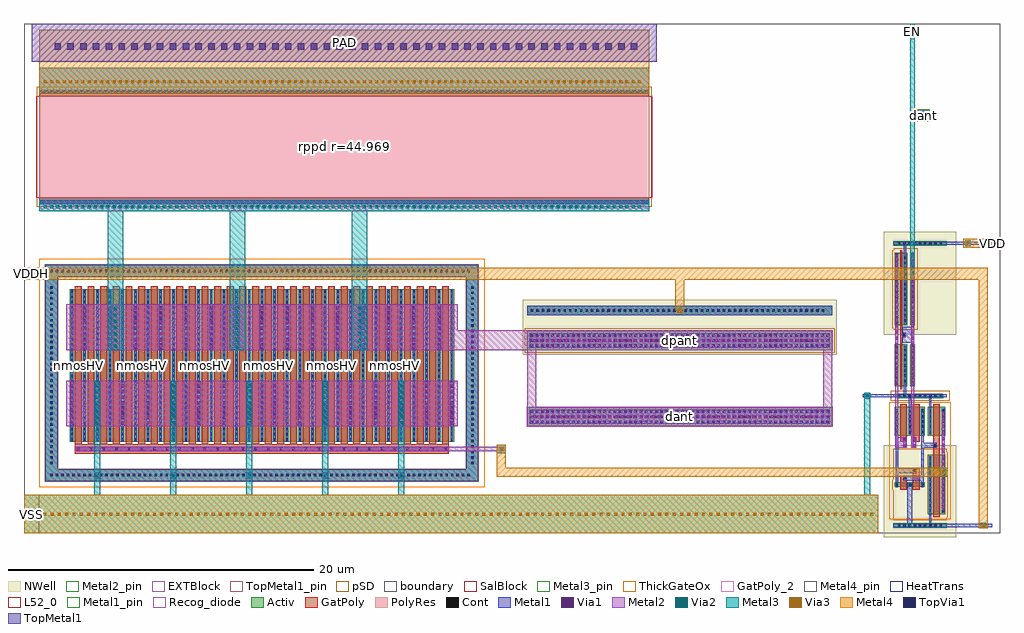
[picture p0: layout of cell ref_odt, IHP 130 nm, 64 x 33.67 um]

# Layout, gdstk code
import gdstk
lib = gdstk.Library(unit=1e-6, precision=1e-09)
def R(c, l, rs):  # rectangles x0, y0, x1, y1
    for r in rs: c.add(gdstk.rectangle(r[:2], r[2:], *l))
def A(c, l, x, y, w, h, nx, ny, dx, dy):  # array of equal rectangles
    R(c, l, [(x+i*dx, y+j*dy, x+i*dx+w, y+j*dy+h) for i in range(nx) for j in range(ny)])
def P(c, l, *ps):  # polygons
    for p in ps: c.add(gdstk.Polygon(p, *l))
Activ = (1, 0)
GatPoly = (5, 0)
GatPoly_2 = (5, 2)
Cont = (6, 0)
Metal1 = (8, 0)
Metal1_pin = (8, 2)
Metal2 = (10, 0)
Metal2_pin = (10, 2)
pSD = (14, 0)
Via1 = (19, 0)
SalBlock = (28, 0)
Via2 = (29, 0)
Metal3 = (30, 0)
Metal3_pin = (30, 2)
NWell = (31, 0)
ThickGateOx = (44, 0)
Via3 = (49, 0)
Metal4 = (50, 0)
Metal4_pin = (50, 2)
HeatTrans = (51, 0)
L52_0 = (52, 0)
Recog_diode = (99, 31)
EXTBlock = (111, 0)
TopVia1 = (125, 0)
TopMetal1 = (126, 0)
TopMetal1_pin = (126, 2)
PolyRes = (128, 0)
boundary = (189, 4)

ref_odt_lvlup = lib.new_cell('ref_odt_lvlup')
R(ref_odt_lvlup, Activ, [(0,-0.15,3.51,0.15), (2.275,0.73,3.405,4.63), (0.105,2.53,2.065,2.83), (0.105,5.87,1.235,7.77), (1.15,5.87,1.85,7.77), (1.765,5.87,2.065,7.77), (2.275,5.87,3.405,7.77), (0.245,8.35,3.29,8.65), (0.105,9.13,0.915,11.88), (1.125,9.13,1.425,11.88), (0.105,13.12,0.915,17.87), (1.125,13.12,1.425,17.87), (0,18.35,3.51,18.65)])
R(ref_odt_lvlup, GatPoly, [(2.615,0.55,3.065,7.95), (0.445,2.35,0.895,3.01), (0.445,2.35,0.895,3.25), (1.275,2.35,1.725,3.75), (1.275,3.45,1.575,3.75), (0.445,5.49,0.895,7.95), (1.275,5.49,1.725,7.95)])
P(ref_odt_lvlup, GatPoly, [(0.445,8.95),(0.445,18.05),(0.575,18.05),(0.575,12.65),(0.825,12.65),(0.825,12.35),(0.575,12.35),(0.575,8.95)],
  [(0.595,5.49),(0.595,5.69),(0.445,5.69),(0.445,7.95),(0.895,7.95),(0.895,5.49)],
  [(1.275,5.49),(1.275,7.95),(1.725,7.95),(1.725,5.69),(1.575,5.69),(1.575,5.49)])
A(ref_odt_lvlup, Cont, 0.315, -0.08, 0.16, 0.16, 9, 2, 0.34, 8.5)
A(ref_odt_lvlup, Cont, 2.345, 0.9, 0.16, 0.16, 1, 11, 0, 0.34)
A(ref_odt_lvlup, Cont, 3.175, 0.9, 0.16, 0.16, 1, 11, 0, 0.34)
A(ref_odt_lvlup, Cont, 0.175, 2.6, 0.16, 0.16, 3, 2, 0.83, 3.46)
A(ref_odt_lvlup, Cont, 2.345, 6.06, 0.16, 0.16, 1, 5, 0, 0.34)
A(ref_odt_lvlup, Cont, 3.175, 6.06, 0.16, 0.16, 1, 5, 0, 0.34)
A(ref_odt_lvlup, Cont, 0.175, 6.4, 0.16, 0.16, 3, 4, 0.83, 0.34)
A(ref_odt_lvlup, Cont, 0.175, 9.235, 0.16, 0.16, 1, 8, 0, 0.34)
A(ref_odt_lvlup, Cont, 1.195, 9.235, 0.16, 0.16, 1, 8, 0, 0.34)
A(ref_odt_lvlup, Cont, 0.685, 9.405, 0.16, 0.16, 1, 7, 0, 0.34)
A(ref_odt_lvlup, Cont, 0.175, 13.205, 0.16, 0.16, 1, 14, 0, 0.34)
A(ref_odt_lvlup, Cont, 1.195, 13.205, 0.16, 0.16, 1, 14, 0, 0.34)
A(ref_odt_lvlup, Cont, 0.685, 13.375, 0.16, 0.16, 1, 13, 0, 0.34)
A(ref_odt_lvlup, Cont, 0.315, 18.42, 0.16, 0.16, 9, 1, 0.34, 0)
R(ref_odt_lvlup, Cont, [(0.665,3.02,0.825,3.18), (1.345,3.52,1.505,3.68), (2.685,5.17,2.845,5.33), (0.665,5.56,0.825,5.72), (1.345,5.56,1.505,5.72), (0.595,12.42,0.755,12.58)])
R(ref_odt_lvlup, Metal1, [(3.175,0.82,3.385,7.66), (0.665,2.94,0.825,3.26), (1.345,3.44,1.505,3.76), (0.665,5.1,0.875,5.8), (1.295,5.1,1.505,5.8), (1.345,5.48,1.505,5.8), (0.125,9.155,0.335,17.865)])
P(ref_odt_lvlup, Metal1, [(1.835,2.52),(1.835,2.94),(0.665,2.94),(0.665,3.26),(1.835,3.26),(1.835,7.66),(1.995,7.66),(1.995,5.41),(2.845,5.41),(2.845,5.09),(1.995,5.09),(1.995,2.52)],
  [(0,-0.105),(0,0.105),(0.925,0.105),(0.925,2.76),(1.245,2.76),(1.245,0.105),(2.345,0.105),(2.345,4.54),(2.505,4.54),(2.505,0.105),(3.51,0.105),(3.51,-0.105)],
  [(0.175,2.52),(0.175,7.66),(0.335,7.66),(0.335,3.76),(1.505,3.76),(1.505,3.44),(0.335,3.44),(0.335,2.52)],
  [(1.17,9.155),(1.17,11.97),(0.595,11.97),(0.595,13.03),(1.17,13.03),(1.17,17.865),(1.38,17.865),(1.38,9.155)],
  [(1.005,5.98),(1.005,8.395),(0,8.395),(0,8.605),(0.685,8.605),(0.685,11.79),(0.845,11.79),(0.845,8.605),(3.51,8.605),(3.51,8.395),(2.505,8.395),(2.505,5.98),(2.345,5.98),(2.345,8.395),(1.165,8.395),(1.165,5.98)],
  [(0.685,13.21),(0.685,18.395),(0,18.395),(0,18.605),(3.51,18.605),(3.51,18.395),(0.845,18.395),(0.845,13.21)])
R(ref_odt_lvlup, Metal1_pin, [(0,-0.105,3.51,0.105), (0,8.395,3.51,8.605), (0,18.395,3.51,18.605)])
R(ref_odt_lvlup, Metal2, [(3.18,1.02,3.38,7.46)])
P(ref_odt_lvlup, Metal2, [(1.175,5.1),(1.175,17.755),(1.375,17.755),(1.375,5.8),(1.5,5.8),(1.5,5.1)],
  [(0.13,5.1),(0.13,17.755),(0.33,17.755),(0.33,5.8),(0.87,5.8),(0.87,5.1)])
R(ref_odt_lvlup, Metal2_pin, [(3.18,1.02,3.38,7.46), (1.175,9.265,1.375,17.755)])
R(ref_odt_lvlup, pSD, [(-0.18,8.17,3.69,8.83)])
P(ref_odt_lvlup, pSD, [(0.035,12.82),(0.035,12.94),(-0.075,12.94),(-0.075,18.05),(0.035,18.05),(0.035,18.17),(1.605,18.17),(1.605,12.82)],
  [(0,0.33),(0,2.35),(-0.075,2.35),(-0.075,3.01),(0,3.01),(0,5.03),(3.51,5.03),(3.51,4.81),(3.585,4.81),(3.585,0.55),(3.51,0.55),(3.51,0.33)])
A(ref_odt_lvlup, Via1, 3.185, 1.07, 0.19, 0.19, 1, 16, 0, 0.41)
A(ref_odt_lvlup, Via1, 0.135, 9.315, 0.19, 0.19, 1, 21, 0, 0.41)
A(ref_odt_lvlup, Via1, 1.18, 9.315, 0.19, 0.19, 1, 21, 0, 0.41)
R(ref_odt_lvlup, Via1, [(0.675,5.15,0.865,5.34), (1.305,5.15,1.495,5.34), (0.675,5.56,0.865,5.75), (1.305,5.56,1.495,5.75)])
R(ref_odt_lvlup, NWell, [(-0.62,-0.77,4.13,5.25), (-0.62,12.5,4.13,19.27)])
R(ref_odt_lvlup, ThickGateOx, [(-0.27,0.42,3.78,8.08)])
ref_odt_lvlup.add(gdstk.Label('iovdd', (1.755,0), layer=8, texttype=25))
ref_odt_lvlup.add(gdstk.Label('vss', (1.755,8.5), layer=8, texttype=25))
ref_odt_lvlup.add(gdstk.Label('vdd', (1.755,18.5), layer=8, texttype=25))
ref_odt_lvlup.add(gdstk.Label('o', (3.28,4.24), layer=10, texttype=25))
ref_odt_lvlup.add(gdstk.Label('i', (1.275,13.51), layer=10, texttype=25))

ref_odt = lib.new_cell('ref_odt')
A(ref_odt, Activ, 3, 6, 0.3, 0.3, 31, 1, 0.83, 0)
R(ref_odt, Activ, [(1.4,3.4,29.8,4.2), (1.4,3.4,2.2,17.6), (29,3.4,29.8,17.6), (3,6,28.2,16), (33,7,53,8.26), (33,12,53,13.26), (33,14.3,53,14.9), (1.4,16.8,29.8,17.6), (58.6,27,59.38,27.78)])
A(ref_odt, GatPoly, 3.34, 5.82, 0.45, 10.36, 30, 1, 0.83, 0)
R(ref_odt, GatPoly, [(3.34,5.22,27.86,5.82), (1,21.57,41,21.8), (1,21.8,41,22), (1,28.65,41,28.85), (1,28.85,41,29.08)])
R(ref_odt, GatPoly_2, [(3.34,5.82,3.79,16.18)])
A(ref_odt, Cont, 1.72, 3.72, 0.16, 0.16, 77, 2, 0.36, 13.4)
A(ref_odt, Cont, 1.72, 4.52, 0.16, 0.16, 1, 33, 0, 0.36)
A(ref_odt, Cont, 29.32, 4.52, 0.16, 0.16, 1, 33, 0, 0.36)
A(ref_odt, Cont, 3.485, 5.44, 0.16, 0.16, 30, 1, 0.83, 0)
A(ref_odt, Cont, 3.07, 6.07, 0.16, 0.16, 31, 4, 0.83, 0.345)
A(ref_odt, Cont, 33.23, 7.21, 0.16, 0.16, 58, 3, 0.34, 0.34)
A(ref_odt, Cont, 3.07, 7.455, 0.16, 0.16, 31, 3, 0.83, 0.345)
A(ref_odt, Cont, 3.07, 8.495, 0.16, 0.16, 31, 4, 0.83, 0.345)
A(ref_odt, Cont, 3.07, 9.88, 0.16, 0.16, 31, 3, 0.83, 0.345)
A(ref_odt, Cont, 3.07, 10.92, 0.16, 0.16, 31, 4, 0.83, 0.345)
A(ref_odt, Cont, 33.23, 12.21, 0.16, 0.16, 58, 3, 0.34, 0.34)
A(ref_odt, Cont, 3.07, 12.305, 0.16, 0.16, 31, 3, 0.83, 0.345)
A(ref_odt, Cont, 3.07, 13.345, 0.16, 0.16, 31, 4, 0.83, 0.345)
A(ref_odt, Cont, 33.22, 14.52, 0.16, 0.16, 54, 1, 0.36, 0)
A(ref_odt, Cont, 3.07, 14.73, 0.16, 0.16, 31, 3, 0.83, 0.345)
A(ref_odt, Cont, 3.07, 15.77, 0.16, 0.16, 31, 1, 0.83, 0)
R(ref_odt, Cont, [(1.07,21.64,40.93,21.8), (58.74,27.14,58.9,27.3), (59.08,27.14,59.24,27.3), (58.74,27.48,58.9,27.64), (59.08,27.48,59.24,27.64), (1.07,28.85,40.93,29.01)])
A(ref_odt, Metal1, 3.07, 6, 0.16, 10, 31, 1, 0.83, 0)
A(ref_odt, Metal1, 3.025, 7, 0.25, 3, 16, 1, 1.66, 0)
A(ref_odt, Metal1, 3.855, 12, 0.25, 3, 15, 1, 1.66, 0)
R(ref_odt, Metal1, [(60.51,0.395,63.5,0.605), (1.4,3.4,29.8,4.2), (1.4,3.4,2.2,17.6), (29,3.4,29.8,17.6), (3.435,5.37,27.765,5.67), (33.18,7.16,52.82,8.1), (33.23,7.21,52.77,8.05), (33.23,7.21,52.77,8.05), (55,8.895,57,9.105), (33.18,12.16,52.82,13.1), (33.23,12.21,52.77,13.05), (33.23,12.21,52.77,13.05), (33,14.3,53,14.9), (1.4,16.8,29.8,17.6), (60.51,18.895,63.5,19.105), (1.02,21.57,40.98,21.87), (58.69,27.09,59.29,27.69), (58.74,27.14,59.24,27.64), (58.74,27.14,59.24,27.64), (1.02,28.78,40.98,29.08)])
R(ref_odt, Metal1_pin, [(3.07,6,3.23,16), (3.9,6,4.06,16), (1.02,21.57,40.98,21.87), (1.02,28.78,40.98,29.08)])
A(ref_odt, Metal2, 4.62, 3.61, 0.38, 0.38, 5, 1, 4.98, 0)
R(ref_odt, Metal2, [(62.71,0.31,63.09,0.69), (3.415,5.37,31.5,5.67), (2.77,7,28.43,10), (33,7,53,8.26), (33,7,33.6,13.3), (52.4,7,53,13.3), (55.11,8.81,55.49,9.19), (2.77,12,28.43,15), (2.77,12,53,13.3), (42.81,14.41,43.19,14.79), (61.71,18.81,62.09,19.19), (1,21.1,41,21.87), (58.8,27.2,59.18,27.58), (1,28.78,41,30.5)])
R(ref_odt, pSD, [(1.37,3.37,29.83,4.23), (1.37,3.37,2.23,17.63), (28.97,3.37,29.83,17.63), (32.82,11.82,53.18,13.44), (1.37,16.77,29.83,17.63), (0.82,21.39,41.18,22), (0.82,22,41.18,28.65), (0.82,28.65,41.18,29.26)])
A(ref_odt, Via1, 4.715, 3.705, 0.19, 0.19, 5, 1, 4.98, 0)
A(ref_odt, Via1, 3.47, 5.425, 0.19, 0.19, 6, 1, 4.15, 0)
A(ref_odt, Via1, 3.055, 7.155, 0.19, 0.19, 16, 7, 1.66, 0.41)
A(ref_odt, Via1, 33.405, 7.535, 0.19, 0.19, 47, 2, 0.41, 5)
A(ref_odt, Via1, 3.885, 12.155, 0.19, 0.19, 15, 7, 1.66, 0.41)
A(ref_odt, Via1, 1.305, 21.625, 0.19, 0.19, 96, 2, 0.41, 7.21)
R(ref_odt, Via1, [(62.805,0.405,62.995,0.595), (55.205,8.905,55.395,9.095), (42.905,14.505,43.095,14.695), (61.805,18.905,61.995,19.095), (58.895,27.295,59.085,27.485)])
R(ref_odt, SalBlock, [(0.8,22,41.2,28.65)])
A(ref_odt, Via2, 4.715, 3.705, 0.19, 0.19, 5, 2, 4.98, 3.45)
A(ref_odt, Via2, 4.715, 7.565, 0.19, 0.19, 5, 6, 4.98, 0.41)
A(ref_odt, Via2, 5.905, 12.155, 0.19, 0.19, 3, 7, 8, 0.41)
A(ref_odt, Via2, 1.305, 21.305, 0.19, 0.19, 96, 2, 0.41, 8.2)
R(ref_odt, Via2, [(62.805,0.405,62.995,0.595), (60.185,3.905,60.375,4.095), (31.205,5.425,31.395,5.615), (55.205,8.905,55.395,9.095), (42.905,14.505,43.095,14.695), (58.18,16.905,58.37,17.095), (61.805,18.905,61.995,19.095), (58.895,27.295,59.085,27.485)])
A(ref_odt, Metal3, 4.61, 0, 0.4, 10, 5, 1, 4.98, 0)
A(ref_odt, Metal3, 5.5, 12, 1, 9.87, 3, 1, 8, 0)
R(ref_odt, Metal3, [(0,0,56,2.5), (55.1,0,55.5,9), (62.71,0.31,63.09,0.69), (60.09,3.81,60.47,4.19), (31,5.25,31.6,5.79), (55.11,8.81,55.49,9.19), (42.81,14.41,43.19,14.79), (58.125,16.8,58.425,33.4), (61.71,18.81,62.09,19.19), (1,21.1,41,21.87), (58.125,27.2,59.18,27.58), (1,28.78,41,30.5), (58.125,32.4,58.425,33.4)])
R(ref_odt, Metal3_pin, [(58.125,32.4,58.425,33.4)])
R(ref_odt, NWell, [(32.69,11.69,53.31,13.57), (32.69,11.69,53.31,15.3)])
R(ref_odt, ThickGateOx, [(1,3,30.2,18), (2.73,4.7,28.47,16.52), (2.73,5.48,28.47,16.52)])
A(ref_odt, Via3, 0.305, 1.155, 0.19, 0.19, 116, 1, 0.48, 0)
A(ref_odt, Via3, 1.305, 29.505, 0.19, 0.19, 96, 1, 0.41, 0)
R(ref_odt, Via3, [(62.805,0.405,62.995,0.595), (60.185,3.905,60.375,4.095), (31.205,5.425,31.395,5.615), (42.905,14.505,43.095,14.695), (61.805,18.905,61.995,19.095)])
R(ref_odt, Metal4, [(0,0,56,2.5), (0,0,1,2.5), (62.6,0.31,63.2,17.4), (62.71,0.31,63.09,0.69), (31,3.7,31.6,5.79), (31,3.7,60.58,4.3), (42.81,14.41,43.19,14.79), (42.7,14.6,43.3,17.4), (0,16.6,63.2,17.4), (0,16.6,1,17.4), (61.6,18.7,64,19.3), (63,18.7,64,19.3), (61.71,18.81,62.09,19.19), (1,28.78,41,33)])
R(ref_odt, Metal4_pin, [(0,0,1,2.5), (0,16.6,1,17.4), (63,18.7,64,19.3)])
A(ref_odt, HeatTrans, 3.34, 5.82, 0.45, 10.36, 30, 1, 0.83, 0)
R(ref_odt, L52_0, [(1,22,41,28.65)])
R(ref_odt, Recog_diode, [(32.98,6.98,53.02,8.28), (32.98,11.98,53.02,13.28), (58.58,26.98,59.4,27.8)])
R(ref_odt, EXTBlock, [(0.82,21.39,41.18,22), (0.8,22,41.2,28.65), (0.82,28.65,41.18,29.26)])
A(ref_odt, TopVia1, 2, 31.69, 0.42, 0.42, 46, 1, 0.84, 0)
R(ref_odt, TopMetal1, [(0.5,30.9,41.5,33.4)])
R(ref_odt, TopMetal1_pin, [(0.5,30.9,41.5,33.4)])
R(ref_odt, PolyRes, [(1,22,41,28.65)])
R(ref_odt, boundary, [(0,0,64,33.4)])
ref_odt.add(gdstk.Reference(ref_odt_lvlup, (57,0.5)))
ref_odt.add(gdstk.Label('EN', (58.275,32.9), layer=30, texttype=25))
ref_odt.add(gdstk.Label('VDDH', (0.5,17), layer=50, texttype=25))
ref_odt.add(gdstk.Label('VDD', (63.5,19), layer=50, texttype=25))
ref_odt.add(gdstk.Label('VSS', (0.5,1.25), layer=50, texttype=25))
ref_odt.add(gdstk.Label('PAD', (21,32.15), layer=126, texttype=25))
ref_odt.add(gdstk.Label('nmosHV', (3.565,11), layer=63, texttype=0))
ref_odt.add(gdstk.Label('dpant', (43,12.63), layer=63, texttype=0))
ref_odt.add(gdstk.Label('dant', (43,7.63), layer=63, texttype=0))
ref_odt.add(gdstk.Label('rppd r=44.969', (21,25.325), layer=63, texttype=0))
ref_odt.add(gdstk.Label('dant', (58.99,27.39), layer=63, texttype=0))
ref_odt.add(gdstk.Label('nmosHV', (3.565,11), layer=51, texttype=0))
ref_odt.add(gdstk.Label('nmosHV', (4.395,11), layer=51, texttype=0))
ref_odt.add(gdstk.Label('nmosHV', (5.225,11), layer=51, texttype=0))
ref_odt.add(gdstk.Label('nmosHV', (6.055,11), layer=51, texttype=0))
ref_odt.add(gdstk.Label('nmosHV', (6.885,11), layer=51, texttype=0))
ref_odt.add(gdstk.Label('nmosHV', (7.715,11), layer=51, texttype=0))
ref_odt.add(gdstk.Label('nmosHV', (8.545,11), layer=51, texttype=0))
ref_odt.add(gdstk.Label('nmosHV', (9.375,11), layer=51, texttype=0))
ref_odt.add(gdstk.Label('nmosHV', (10.205,11), layer=51, texttype=0))
ref_odt.add(gdstk.Label('nmosHV', (11.035,11), layer=51, texttype=0))
ref_odt.add(gdstk.Label('nmosHV', (11.865,11), layer=51, texttype=0))
ref_odt.add(gdstk.Label('nmosHV', (12.695,11), layer=51, texttype=0))
ref_odt.add(gdstk.Label('nmosHV', (13.525,11), layer=51, texttype=0))
ref_odt.add(gdstk.Label('nmosHV', (14.355,11), layer=51, texttype=0))
ref_odt.add(gdstk.Label('nmosHV', (15.185,11), layer=51, texttype=0))
ref_odt.add(gdstk.Label('nmosHV', (16.015,11), layer=51, texttype=0))
ref_odt.add(gdstk.Label('nmosHV', (16.845,11), layer=51, texttype=0))
ref_odt.add(gdstk.Label('nmosHV', (17.675,11), layer=51, texttype=0))
ref_odt.add(gdstk.Label('nmosHV', (18.505,11), layer=51, texttype=0))
ref_odt.add(gdstk.Label('nmosHV', (19.335,11), layer=51, texttype=0))
ref_odt.add(gdstk.Label('nmosHV', (20.165,11), layer=51, texttype=0))
ref_odt.add(gdstk.Label('nmosHV', (20.995,11), layer=51, texttype=0))
ref_odt.add(gdstk.Label('nmosHV', (21.825,11), layer=51, texttype=0))
ref_odt.add(gdstk.Label('nmosHV', (22.655,11), layer=51, texttype=0))
ref_odt.add(gdstk.Label('nmosHV', (23.485,11), layer=51, texttype=0))
ref_odt.add(gdstk.Label('nmosHV', (24.315,11), layer=51, texttype=0))
ref_odt.add(gdstk.Label('nmosHV', (25.145,11), layer=51, texttype=0))
ref_odt.add(gdstk.Label('nmosHV', (25.975,11), layer=51, texttype=0))
ref_odt.add(gdstk.Label('nmosHV', (26.805,11), layer=51, texttype=0))
ref_odt.add(gdstk.Label('nmosHV', (27.635,11), layer=51, texttype=0))
ref_odt.add(gdstk.Label('rppd', (21,25.325), layer=52, texttype=0))

lib.write_gds('ref_odt.gds')
